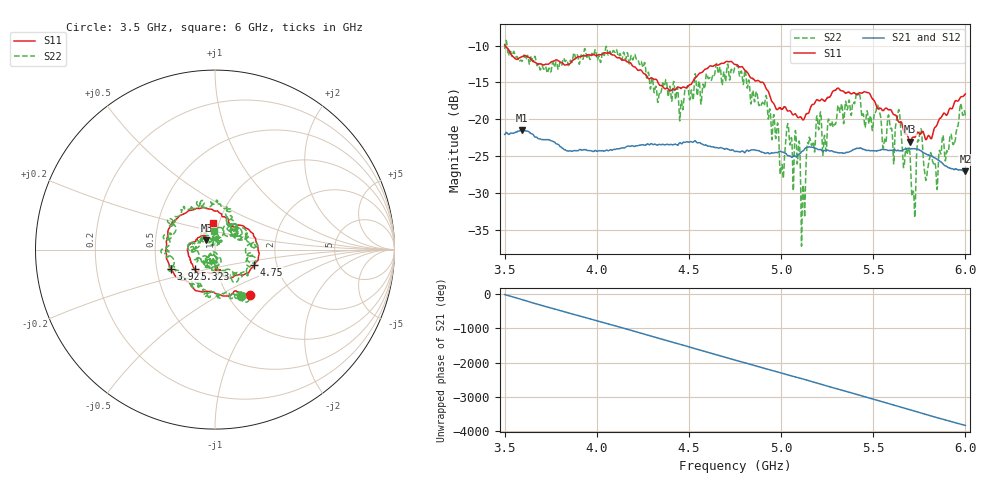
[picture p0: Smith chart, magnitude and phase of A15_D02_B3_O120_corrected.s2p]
! Created with skrf 1.9.0 (http://scikit-rf.org).
# Hz S RI R 50.0
!freq ReS11 ImS11 ReS21 ImS21 ReS12 ImS12 ReS22 ImS22
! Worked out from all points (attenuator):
!   1601 points, 3.5 GHz to 6 GHz, reference 50 ohm
!   highest |S21| = -21.50 dB at 3.594 GHz (marker M1); lowest = -27.1 dB at 6 GHz (marker M2)
!   lowest |S11| = -23.0 dB at 5.698 GHz (marker M3), VSWR 1.15, Z = 45.2 + j4.68 ohm
!   |S11| at or under -10 dB: 3.502 GHz to end of sweep
!   |S22| runs from -37.2 to -9.3 dB; largest |S21 - S12| = 0.00092
!   S11 on the Smith chart (normalised r, x): 3.5 GHz: 1.26, -0.71; 3.922 GHz: 0.59, -0.14; 4.75 GHz: 1.53, -0.27; 5.323 GHz: 0.78, -0.17; 6 GHz: 0.94, +0.28
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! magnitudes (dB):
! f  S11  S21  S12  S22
! 3.5 GHz  -9.9  -22.1  -22.0  -10.5
! 3.594 GHz  -11.5  -21.5  -21.5  -12.2
! 3.917 GHz  -11.5  -24.2  -24.2  -11.3
! 3.922 GHz  -11.4  -24.2  -24.2  -11.7
! 4.213 GHz  -13.0  -23.6  -23.6  -11.7
! 4.334 GHz  -15.1  -23.4  -23.4  -17.3
! 4.75 GHz  -12.6  -24.4  -24.3  -13.0
! 4.927 GHz  -16.1  -24.5  -24.5  -18.9
! 5.005 GHz  -18.6  -24.4  -24.4  -26.1
! 5.034 GHz  -18.9  -24.9  -24.8  -20.8
! 5.088 GHz  -19.6  -25.0  -24.9  -26.1
! 5.119 GHz  -20.1  -24.3  -24.2  -28.9
! 5.147 GHz  -19.2  -23.8  -23.8  -23.3
! 5.167 GHz  -18.0  -23.8  -23.8  -23.6
! 5.323 GHz  -16.1  -24.6  -24.5  -18.6
! 5.584 GHz  -18.7  -24.2  -24.2  -19.4
! 5.638 GHz  -20.3  -24.2  -24.2  -18.8
! 5.698 GHz  -23.0  -24.0  -23.9  -24.4
! 5.719 GHz  -22.4  -24.0  -23.9  -30.0
! 5.752 GHz  -22.0  -24.2  -24.1  -22.0
! 5.841 GHz  -21.0  -25.3  -25.3  -27.2
! 6 GHz  -16.6  -27.1  -27.0  -19.6
